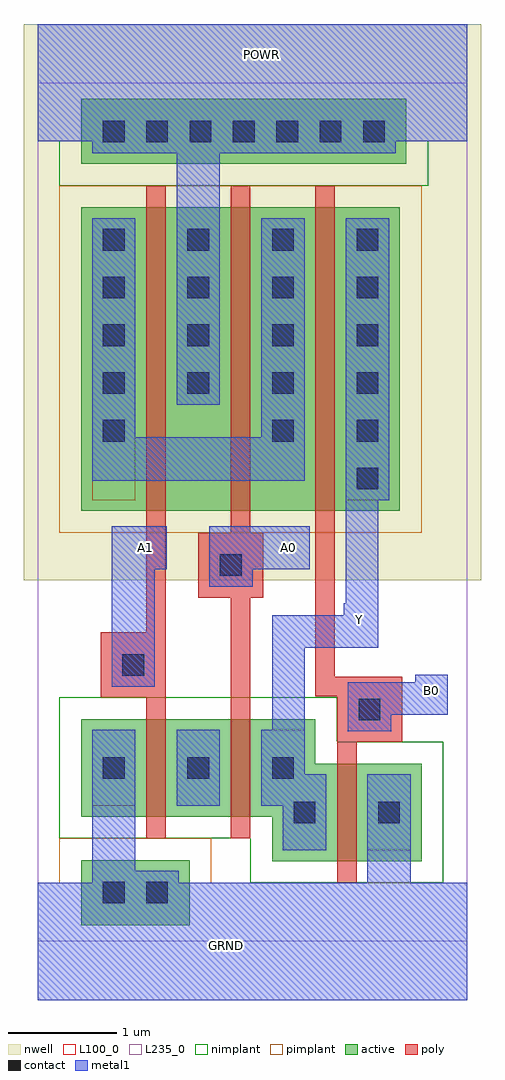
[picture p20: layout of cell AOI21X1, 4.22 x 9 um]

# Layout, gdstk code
import gdstk
lib = gdstk.Library(unit=1e-6, precision=1e-09)
def R(c, l, rs):  # rectangles x0, y0, x1, y1
    for r in rs: c.add(gdstk.rectangle(r[:2], r[2:], *l))
def A(c, l, x, y, w, h, nx, ny, dx, dy):  # array of equal rectangles
    R(c, l, [(x+i*dx, y+j*dy, x+i*dx+w, y+j*dy+h) for i in range(nx) for j in range(ny)])
def P(c, l, *ps):  # polygons
    for p in ps: c.add(gdstk.Polygon(p, *l))
active = (1, 0)
nwell = (2, 0)
poly = (3, 0)
nimplant = (4, 0)
pimplant = (5, 0)
contact = (6, 0)
metal1 = (7, 0)
L100_0 = (100, 0)
L235_0 = (235, 0)

aoi21x1 = lib.new_cell('AOI21X1')
A(aoi21x1, active, 0.4, 3.97, 0.6, 2.8, 4, 1, 0.78, 0)
A(aoi21x1, active, 1, 3.97, 0.18, 2.8, 3, 1, 0.78, 0)
R(aoi21x1, active, [(0.4,0.15,1.4,0.75), (2.76,0.74,2.94,1.64), (2.94,0.74,3.54,1.64), (0.4,1.15,1,2.05), (1,1.15,1.18,2.05), (1.18,1.15,1.78,2.05), (1.78,1.15,1.96,2.05), (0.4,7.17,3.4,7.77)])
P(aoi21x1, active, [(2.76,1.64),(2.56,1.64),(2.56,2.05),(1.96,2.05),(1.96,1.15),(2.16,1.15),(2.16,0.74),(2.76,0.74)])
R(aoi21x1, nwell, [(-0.13,3.33,4.09,8.46)])
A(aoi21x1, poly, 1, 3.77, 0.18, 0.2, 3, 2, 0.78, 3)
A(aoi21x1, poly, 1, 3.77, 0.18, 3.2, 3, 1, 0.78, 0)
R(aoi21x1, poly, [(2.76,0.54,2.94,1.84), (2.76,0.54,2.94,0.74), (1,0.95,1.18,2.25), (1,0.95,1.18,1.15), (1.78,0.95,1.96,2.25), (1.78,0.95,1.96,1.15), (2.76,1.64,2.94,1.84), (1,2.05,1.18,2.25), (1.78,2.05,1.96,2.25)])
P(aoi21x1, poly, [(1.18,3.79),(1,3.79),(1,2.85),(0.58,2.85),(0.58,2.25),(1,2.25),(1,2.22),(1.18,2.22)],
  [(2.08,3.77),(1.96,3.77),(1.96,3.78),(1.78,3.78),(1.78,3.77),(1.48,3.77),(1.48,3.17),(1.78,3.17),(1.78,2.21),(1.96,2.21),(1.96,3.17),(2.08,3.17)],
  [(3.36,2.44),(2.74,2.44),(2.74,3.78),(2.56,3.78),(2.56,2.26),(2.76,2.26),(2.76,1.84),(3.36,1.84)])
P(aoi21x1, nimplant, [(3.74,1.84),(2.76,1.84),(2.76,2.25),(0.2,2.25),(0.2,0.95),(1.96,0.95),(1.96,0.54),(3.74,0.54)],
  [(3.96,8.46),(0,8.46),(0,7.38),(0.2,7.38),(0.2,6.97),(3.6,6.97),(3.6,7.38),(3.96,7.38)])
R(aoi21x1, pimplant, [(0.2,3.77,3.54,6.97)])
P(aoi21x1, pimplant, [(3.96,0.54),(1.6,0.54),(1.6,0.95),(0.2,0.95),(0.2,0.54),(0,0.54),(0,-0.54),(3.96,-0.54)])
A(aoi21x1, contact, 0.6, 1.5, 0.2, 0.2, 3, 1, 0.78, 0)
A(aoi21x1, contact, 0.6, 5.05, 0.2, 0.2, 4, 4, 0.78, 0.44)
A(aoi21x1, contact, 0.6, 7.37, 0.2, 0.2, 7, 1, 0.4, 0)
R(aoi21x1, contact, [(0.6,0.35,0.8,0.55), (1,0.35,1.2,0.55), (2.36,1.09,2.56,1.29), (3.14,1.09,3.34,1.29), (2.96,2.04,3.16,2.24), (0.78,2.45,0.98,2.65), (1.68,3.37,1.88,3.57), (2.94,4.17,3.14,4.37), (0.6,4.61,0.8,4.81), (2.16,4.61,2.36,4.81), (2.94,4.61,3.14,4.81)])
R(aoi21x1, metal1, [(0,-0.54,3.96,0.54), (2.86,1.94,3.26,2.34), (3.48,2.16,3.78,2.46), (0.68,2.35,1.08,3.83), (2.82,2.82,3.12,3.12), (1.58,3.27,1.98,3.67), (0.79,3.43,1.19,3.83), (1.58,3.43,2.51,3.83), (0.84,3.48,1.14,3.78), (2.16,3.48,2.46,3.78), (0,7.38,3.96,8.46)])
P(aoi21x1, metal1, [(3.3,7.67),(0.5,7.67),(0.5,7.27),(1.28,7.27),(1.28,6.67),(1.68,6.67),(1.68,7.27),(3.3,7.27)],
  [(1.3,0.65),(0.9,0.65),(0.9,1.25),(0.5,1.25),(0.5,0.25),(1.3,0.25)],
  [(2.66,1.54),(2.46,1.54),(2.46,1.95),(2.06,1.95),(2.06,1.25),(2.26,1.25),(2.26,0.84),(2.66,0.84)])
R(aoi21x1, L100_0, [(3.04,0.84,3.44,1.54), (0.5,1.25,0.9,1.95), (0.5,4.07,0.9,6.67), (2.84,4.07,3.24,6.67)])
P(aoi21x1, L100_0, [(2.66,1.54),(2.46,1.54),(2.46,1.95),(2.06,1.95),(2.06,1.25),(2.26,1.25),(2.26,0.84),(2.66,0.84)])
R(aoi21x1, L235_0, [(0,0,3.96,7.92)])
aoi21x1.add(gdstk.FlexPath([(2.86,2.24),(3.78,2.24)], 0.3, ends="flush", simple_path=True, layer=7, datatype=0))  # metal1
aoi21x1.add(gdstk.FlexPath([(2.99,4.08),(2.99,2.86),(2.31,2.86),(2.31,1.93)], 0.3, ends="flush", simple_path=True, layer=7, datatype=0))  # metal1
aoi21x1.add(gdstk.FlexPath([(0.7,4.25),(0.7,6.67)], 0.4, ends="flush", simple_path=True, layer=7, datatype=0))  # metal1
aoi21x1.add(gdstk.FlexPath([(1.48,4.95),(1.48,6.67)], 0.4, ends="flush", simple_path=True, layer=7, datatype=0))  # metal1
aoi21x1.add(gdstk.FlexPath([(2.26,4.25),(2.26,6.67)], 0.4, ends="flush", simple_path=True, layer=7, datatype=0))  # metal1
aoi21x1.add(gdstk.FlexPath([(3.04,4.07),(3.04,6.67)], 0.4, ends="flush", simple_path=True, layer=7, datatype=0))  # metal1
aoi21x1.add(gdstk.FlexPath([(1.48,1.25),(1.48,1.95)], 0.4, ends="flush", simple_path=True, layer=7, datatype=0))  # metal1
aoi21x1.add(gdstk.FlexPath([(0.9,4.45),(2.06,4.45)], 0.4, ends="flush", simple_path=True, layer=7, datatype=0))  # metal1
aoi21x1.add(gdstk.FlexPath([(3.24,0.85),(3.24,0.49)], 0.4, ends="flush", simple_path=True, layer=7, datatype=0))  # metal1
aoi21x1.add(gdstk.FlexPath([(3.24,0.84),(3.24,1.54)], 0.4, ends="flush", simple_path=True, layer=7, datatype=0))  # metal1
aoi21x1.add(gdstk.FlexPath([(0.7,1.25),(0.7,1.95)], 0.4, ends="flush", simple_path=True, layer=7, datatype=0))  # metal1
aoi21x1.add(gdstk.Label('B0', (3.63,2.31), layer=230, texttype=0))
aoi21x1.add(gdstk.Label('POWR', (2.06,8.18), layer=230, texttype=0))
aoi21x1.add(gdstk.Label('GRND', (1.74,-0.04), layer=230, texttype=0))
aoi21x1.add(gdstk.Label('A0', (2.31,3.63), layer=230, texttype=0))
aoi21x1.add(gdstk.Label('Y', (2.97,2.97), layer=230, texttype=0))
aoi21x1.add(gdstk.Label('A1', (0.99,3.63), layer=230, texttype=0))

lib.write_gds('AOI21X1.gds')
